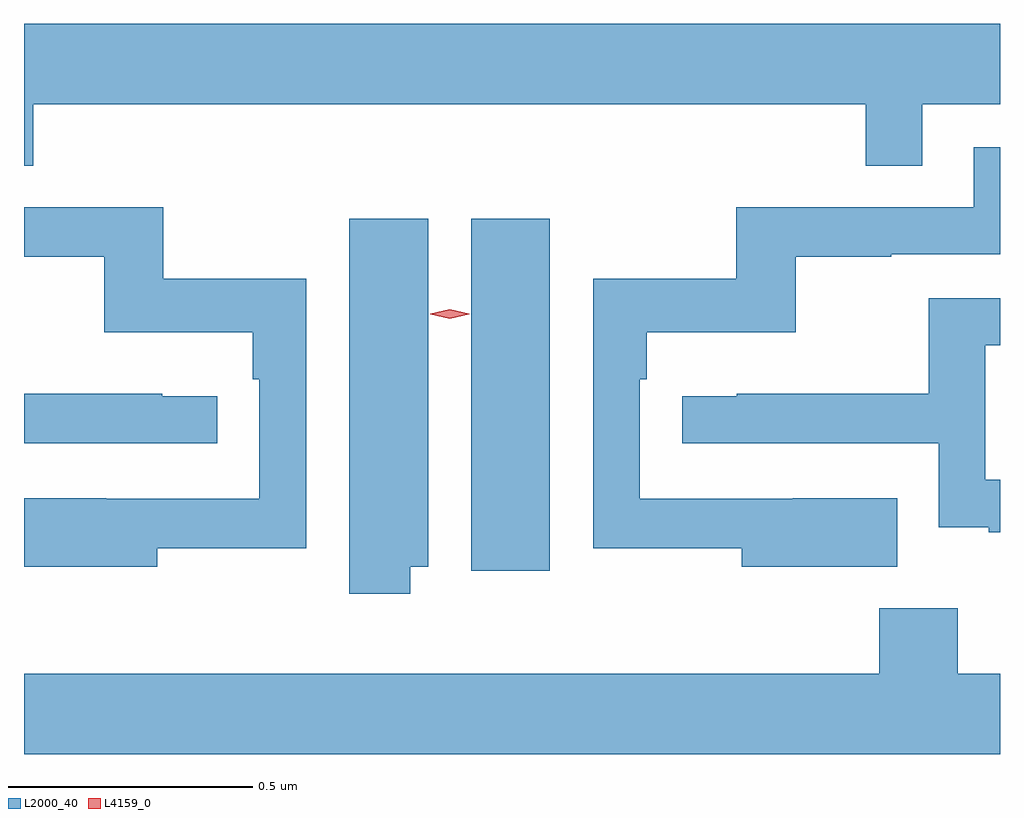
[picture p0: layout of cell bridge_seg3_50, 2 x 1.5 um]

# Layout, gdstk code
import gdstk
lib = gdstk.Library(unit=1e-6, precision=1e-09)
def R(c, l, rs):  # rectangles x0, y0, x1, y1
    for r in rs: c.add(gdstk.rectangle(r[:2], r[2:], *l))
def P(c, l, *ps):  # polygons
    for p in ps: c.add(gdstk.Polygon(p, *l))
L2000_40 = (2000, 40)
L4159_0 = (4159, 0)

bridge_seg3_50 = lib.new_cell('bridge_seg3_50')
R(bridge_seg3_50, L2000_40, [(1103.306,673.32,1103.467,674.041)])
P(bridge_seg3_50, L2000_40, [(1102.409,674.276),(1104.115,674.276),(1104.115,674.149),(1104.231,674.149),(1104.231,674.276),(1104.39,674.276),(1104.39,674.44),(1102.39,674.44),(1102.39,674.149),(1102.409,674.149)],
  [(1104.179,673.468),(1103.965,673.468),(1103.965,673.467),(1103.652,673.467),(1103.652,673.712),(1103.666,673.712),(1103.666,673.808),(1103.971,673.808),(1103.971,673.963),(1104.167,673.963),(1104.167,673.968),(1104.39,673.968),(1104.39,674.187),(1104.336,674.187),(1104.336,674.064),(1103.85,674.064),(1103.85,673.918),(1103.556,673.918),(1103.556,673.366),(1103.861,673.366),(1103.861,673.328),(1104.179,673.328)],
  [(1102.663,673.366),(1102.968,673.366),(1102.968,673.918),(1102.675,673.918),(1102.675,674.064),(1102.39,674.064),(1102.39,673.963),(1102.554,673.963),(1102.554,673.808),(1102.859,673.808),(1102.859,673.712),(1102.872,673.712),(1102.872,673.467),(1102.559,673.467),(1102.559,673.468),(1102.39,673.468),(1102.39,673.328),(1102.663,673.328)],
  [(1103.182,673.328),(1103.218,673.328),(1103.218,674.041),(1103.057,674.041),(1103.057,673.272),(1103.182,673.272)],
  [(1104.39,673.506),(1104.36,673.506),(1104.36,673.782),(1104.39,673.782),(1104.39,673.878),(1104.244,673.878),(1104.244,673.682),(1103.851,673.682),(1103.851,673.677),(1103.739,673.677),(1103.739,673.581),(1104.264,673.581),(1104.264,673.409),(1104.367,673.409),(1104.367,673.398),(1104.39,673.398)],
  [(1102.786,673.677),(1102.673,673.677),(1102.673,673.682),(1102.39,673.682),(1102.39,673.581),(1102.786,673.581)],
  [(1104.39,673.108),(1104.303,673.108),(1104.303,673.243),(1104.143,673.243),(1104.143,673.108),(1102.39,673.108),(1102.39,672.944),(1104.39,672.944)])
P(bridge_seg3_50, L4159_0, [(1103.262,673.836),(1103.222,673.845),(1103.222,673.845),(1103.222,673.846),(1103.262,673.855),(1103.302,673.846),(1103.302,673.845),(1103.302,673.845)])

lib.write_gds('bridge_seg3_50.gds')
